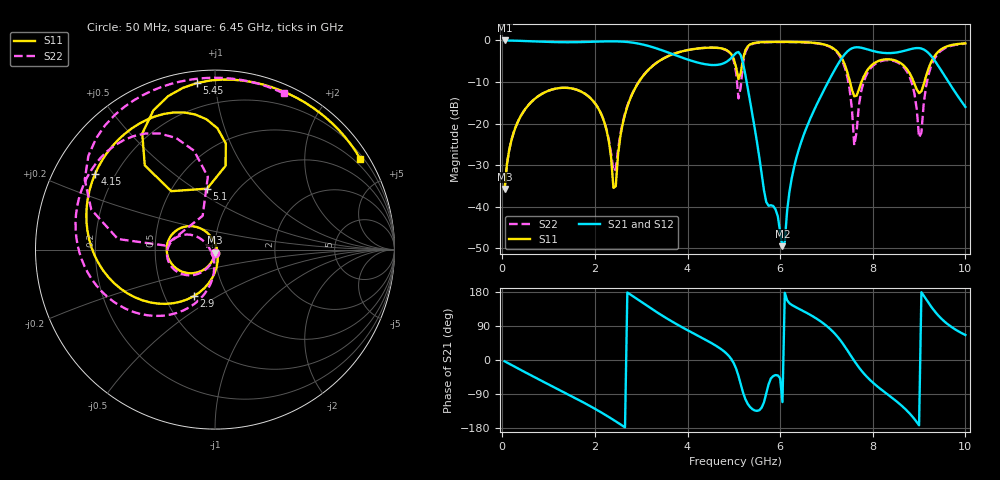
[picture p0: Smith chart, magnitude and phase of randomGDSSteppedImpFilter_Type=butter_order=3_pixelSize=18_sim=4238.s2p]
! freq	dB(S11)	phase(S11)	dB(S12)	phase(S12)
!  dB(S21)	phase(S21)	dB(S22)	phase(S22)
!S-par simulation data
#  GHz  S  DB  R 50
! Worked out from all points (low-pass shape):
!   200 points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, 50 MHz to 10 GHz, reference 50 ohm
!   highest |S21| = -0.01 dB at 50 MHz (marker M1); lowest = -49.5 dB at 6.05 GHz (marker M2)
!   |S21| within 3 dB of the highest: start of sweep to 3.608 GHz; 8.44 GHz to 9.201 GHz (760.8 MHz wide, 8.63 % of centre) (the widest 2 of 4)
!   lowest |S11| = -35.8 dB at 50 MHz (marker M3), VSWR 1.03, Z = 49.9 - j1.62 ohm
!   |S11| at or under -10 dB: start of sweep to 2.948 GHz; 7.508 GHz to 7.757 GHz (249.1 MHz wide, 3.26 % of centre); 8.884 GHz to 9.115 GHz (230.2 MHz wide, 2.56 % of centre)
!   |S22| runs from -35.8 to -0.4 dB; largest |S21 - S12| = 0
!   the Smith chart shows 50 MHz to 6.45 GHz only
!   S11 on the Smith chart (normalised r, x): 50 MHz: 1.00, -0.03; 2.9 GHz: 0.70, -0.39; 4.15 GHz: 0.13, +0.28; 5.1 GHz: 0.73, +0.56; 5.45 GHz: 0.06, +0.90; 6.45 GHz: 0.30, +3.45
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0.05  -35.77 -93.1  -0.01 -3.4  -0.01 -3.4  -35.76 -92.7
0.55  -15.75 -128.2  -0.17 -36.0  -0.17 -36.0  -15.74 -124.6
1.75  -12.60 151.1  -0.39 -111.9  -0.39 -111.9  -12.59 165.3
2.2  -19.59 115.1  -0.23 -143.0  -0.23 -143.0  -19.50 143.2
2.4  -35.49 61.0  -0.21 -158.0  -0.21 -158.0  -31.47 -178.2
2.9  -10.87 -114.7  -0.68 161.6  -0.68 161.6  -10.80 -106.9
3.4  -4.88 -157.7  -2.18 121.2  -2.18 121.2  -4.84 -142.7
4.15  -2.05 147.7  -5.11 68.8  -5.11 68.8  -2.03 168.9
5.05  -6.55 82.8  -2.99 -23.0  -2.99 -23.0  -7.79 95.6
5.1  -9.31 97.4  -2.79 -42.0  -2.79 -42.0  -13.96 110.1
5.45  -0.60 96.1  -21.09 -133.1  -21.09 -133.1  -0.68 131.4
6.05  -0.35 55.6  -49.53 -111.0  -49.53 -111.0  -0.38 90.2
6.45  -0.40 32.1  -24.61 132.3  -24.61 132.3  -0.44 66.2
6.7  -0.55 16.3  -17.57 115.6  -17.57 115.6  -0.59 49.3
7.35  -4.68 -40.7  -3.98 43.7  -3.98 43.7  -5.14 -20.8
7.6  -13.44 -23.8  -1.71 -2.3  -1.71 -2.3  -25.25 -20.2
7.85  -7.74 12.5  -2.04 -41.5  -2.04 -41.5  -8.60 63.9
8.35  -4.54 -19.4  -3.06 -93.6  -3.06 -93.6  -4.74 14.1
8.8  -7.97 -45.3  -2.14 -141.6  -2.14 -141.6  -8.86 -30.9
9  -12.70 -21.5  -1.84 -172.3  -1.84 -172.3  -23.37 -20.3
9.3  -4.38 5.0  -4.29 134.5  -4.29 134.5  -5.10 51.6
10  -0.70 -45.0  -16.01 65.9  -16.01 65.9  -0.78 -17.3
